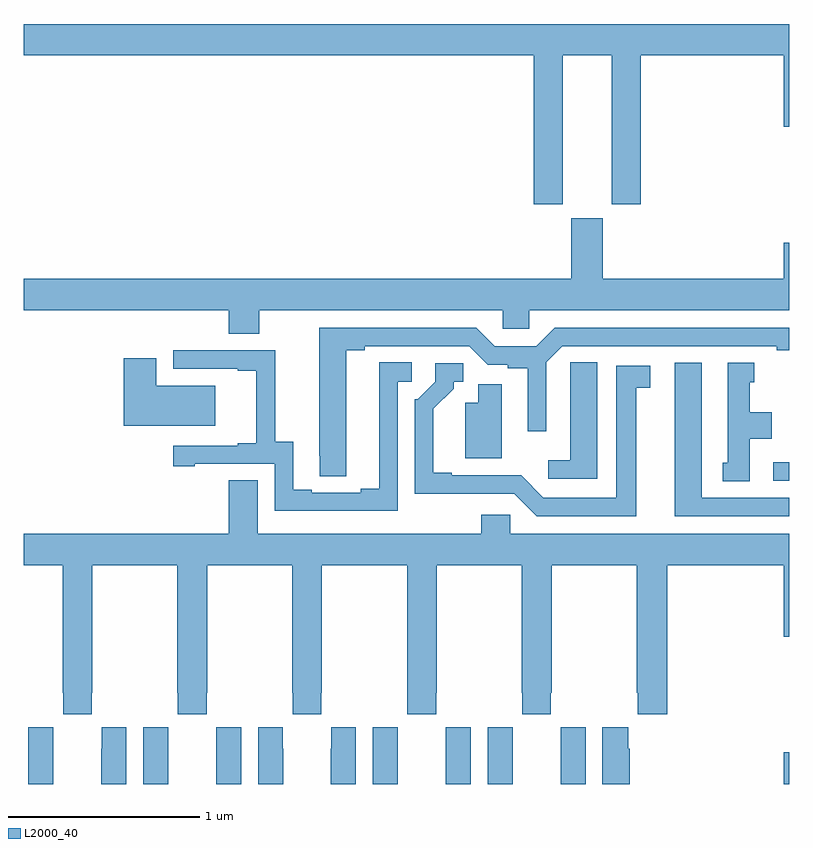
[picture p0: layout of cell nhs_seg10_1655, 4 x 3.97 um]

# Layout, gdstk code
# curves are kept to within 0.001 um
import gdstk
lib = gdstk.Library(unit=1e-6, precision=1e-09)
def R(c, l, rs):  # rectangles x0, y0, x1, y1
    for r in rs: c.add(gdstk.rectangle(r[:2], r[2:], *l))
def P(c, l, *ps):  # polygons
    for p in ps: c.add(gdstk.Polygon(p, *l))
L2000_40 = (2000, 40)

nhs_seg10_1655 = lib.new_cell('nhs_seg10_1655')
R(nhs_seg10_1655, L2000_40, [(200.972,1304.5,201,1304.665), (200.916,1306.086,201,1306.182)])
P(nhs_seg10_1655, L2000_40, [(197,1308.308),(199.664,1308.308),(199.664,1307.529),(199.816,1307.529),(199.816,1308.308),(200.072,1308.308),(200.072,1307.529),(200.225,1307.529),(200.225,1308.308),(200.972,1308.308),(200.972,1307.934),(201,1307.934),(201,1308.472),(197,1308.472)],
  [(198.231,1306.976),(199.503,1306.976),(199.503,1306.878),(199.641,1306.878),(199.641,1306.976),(201,1306.976),(201,1307.329),(200.972,1307.329),(200.972,1307.14),(200.026,1307.14),(200.026,1307.457),(199.862,1307.457),(199.862,1307.14),(197,1307.14),(197,1306.976),(198.071,1306.976),(198.071,1306.852),(198.231,1306.852)],
  [(198.685,1306.768),(198.781,1306.768),(198.781,1306.788),(199.329,1306.788),(199.425,1306.692),(199.53,1306.692),(199.53,1306.672),(199.634,1306.672),(199.634,1306.344),(199.731,1306.344),(199.731,1306.704),(199.815,1306.788),(200.936,1306.788),(200.936,1306.768),(201,1306.768),(201,1306.884),(199.775,1306.884),(199.679,1306.788),(199.461,1306.788),(199.365,1306.884),(198.545,1306.884),(198.546,1306.108),(198.685,1306.108)],
  [(198.954,1306.602),(199.027,1306.602),(199.027,1306.703),(198.857,1306.703),(198.857,1306.043),(198.761,1306.043),(198.761,1306.023),(198.505,1306.023),(198.505,1306.038),(198.409,1306.038),(198.409,1306.289),(198.315,1306.289),(198.315,1306.767),(197.781,1306.767),(197.781,1306.671),(198.119,1306.671),(198.119,1306.659),(198.215,1306.659),(198.215,1306.282),(198.119,1306.282),(198.119,1306.269),(197.781,1306.269),(197.781,1306.161),(197.893,1306.161),(197.893,1306.173),(198.312,1306.173),(198.312,1305.927),(198.954,1305.927)],
  [(198.001,1306.582),(197.692,1306.582),(197.692,1306.726),(197.522,1306.726),(197.522,1306.373),(198.001,1306.373)],
  [(199.996,1306.703),(199.857,1306.703),(199.857,1306.595),(199.856,1306.595),(199.856,1306.192),(199.74,1306.192),(199.74,1306.095),(199.996,1306.095)],
  [(200.794,1306.304),(200.908,1306.304),(200.908,1306.444),(200.794,1306.444),(200.794,1306.599),(200.818,1306.599),(200.818,1306.702),(200.678,1306.702),(200.678,1306.179),(200.654,1306.179),(200.654,1306.081),(200.794,1306.081)],
  [(201,1305.996),(200.542,1305.996),(200.542,1306.702),(200.402,1306.702),(200.402,1305.9),(201,1305.9)],
  [(200.2,1306.57),(200.275,1306.57),(200.275,1306.686),(200.096,1306.686),(200.096,1305.996),(199.716,1305.996),(199.599,1306.113),(199.237,1306.113),(199.237,1306.126),(199.141,1306.126),(199.141,1306.462),(199.246,1306.567),(199.246,1306.602),(199.296,1306.602),(199.296,1306.698),(199.149,1306.698),(199.149,1306.602),(199.059,1306.512),(199.044,1306.512),(199.044,1306.016),(199.563,1306.017),(199.68,1305.9),(200.2,1305.9)],
  [(199.498,1306.59),(199.376,1306.59),(199.376,1306.492),(199.307,1306.492),(199.307,1306.202),(199.498,1306.202)],
  [(199.542,1305.906),(199.391,1305.906),(199.391,1305.808),(198.223,1305.808),(198.223,1306.088),(198.071,1306.088),(198.071,1305.808),(197,1305.808),(197,1305.644),(197.203,1305.644),(197.203,1304.977),(197.205,1304.977),(197.205,1304.865),(197.355,1304.865),(197.355,1304.977),(197.358,1304.977),(197.358,1305.644),(197.803,1305.644),(197.803,1304.977),(197.805,1304.977),(197.805,1304.865),(197.955,1304.865),(197.955,1304.977),(197.958,1304.977),(197.958,1305.644),(198.403,1305.644),(198.403,1304.977),(198.405,1304.977),(198.405,1304.865),(198.555,1304.865),(198.555,1304.977),(198.558,1304.977),(198.558,1305.644),(199.003,1305.644),(199.003,1304.977),(199.005,1304.977),(199.005,1304.865),(199.155,1304.865),(199.155,1304.977),(199.158,1304.977),(199.158,1305.644),(199.603,1305.644),(199.603,1304.977),(199.605,1304.977),(199.605,1304.865),(199.755,1304.865),(199.755,1304.977),(199.758,1304.977),(199.758,1305.644),(200.203,1305.644),(200.203,1304.977),(200.209,1304.977),(200.209,1304.865),(200.363,1304.865),(200.363,1305.644),(200.972,1305.644),(200.972,1305.27),(201,1305.27),(201,1305.808),(199.542,1305.808)],
  [(197.536,1304.797),(197.406,1304.797),(197.406,1304.684),(197.405,1304.684),(197.405,1304.5),(197.536,1304.5)],
  [(200.168,1304.684),(200.158,1304.684),(200.158,1304.797),(200.024,1304.797),(200.024,1304.5),(200.168,1304.5)],
  [(199.936,1304.797),(199.806,1304.797),(199.806,1304.684),(199.805,1304.684),(199.805,1304.5),(199.936,1304.5)],
  [(199.555,1304.684),(199.554,1304.684),(199.554,1304.797),(199.424,1304.797),(199.424,1304.5),(199.555,1304.5)],
  [(199.336,1304.797),(199.206,1304.797),(199.206,1304.684),(199.205,1304.684),(199.205,1304.5),(199.336,1304.5)],
  [(198.955,1304.684),(198.954,1304.684),(198.954,1304.797),(198.824,1304.797),(198.824,1304.5),(198.955,1304.5)],
  [(198.736,1304.797),(198.606,1304.797),(198.606,1304.684),(198.605,1304.684),(198.605,1304.5),(198.736,1304.5)],
  [(198.136,1304.797),(198.006,1304.797),(198.006,1304.684),(198.005,1304.684),(198.005,1304.5),(198.136,1304.5)],
  [(197.755,1304.684),(197.754,1304.684),(197.754,1304.797),(197.624,1304.797),(197.624,1304.5),(197.755,1304.5)],
  [(197.155,1304.684),(197.154,1304.684),(197.154,1304.797),(197.024,1304.797),(197.024,1304.5),(197.155,1304.5)],
  [(198.355,1304.684),(198.354,1304.684),(198.354,1304.797),(198.224,1304.797),(198.224,1304.5),(198.355,1304.5)])

lib.write_gds('nhs_seg10_1655.gds')
